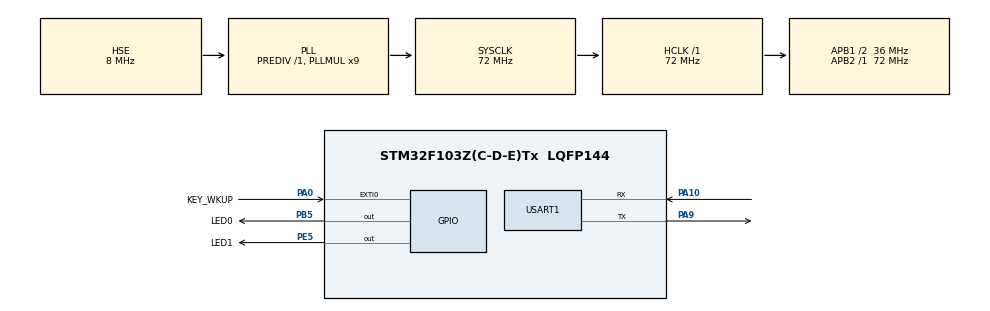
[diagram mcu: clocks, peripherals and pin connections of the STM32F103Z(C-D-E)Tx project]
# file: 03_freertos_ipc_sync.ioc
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FREERTOS.Tasks01=defaultTask,24,128,StartDefaultTask,Default,NULL,Dynamic,NULL,NULL
FREERTOS.configCHECK_FOR_STACK_OVERFLOW=1
FREERTOS.configTOTAL_HEAP_SIZE=10240
FREERTOS.configUSE_IDLE_HOOK=1
FREERTOS.configUSE_MALLOC_FAILED_HOOK=1
Mcu.Family=STM32F1
Mcu.Name=STM32F103Z(C-D-E)Tx
Mcu.Package=LQFP144
NVIC.EXTI0_IRQn=true\:5\:0\:false\:false\:true\:true\:true\:true\:true
NVIC.PriorityGroup=NVIC_PRIORITYGROUP_4
NVIC.TIM4_IRQn=true\:15\:0\:false\:false\:true\:false\:false\:true\:true
NVIC.TimeBase=TIM4_IRQn
NVIC.TimeBaseIP=TIM4
OSC_IN.Mode=HSE-External-Oscillator
OSC_IN.Signal=RCC_OSC_IN
OSC_OUT.Mode=HSE-External-Oscillator
OSC_OUT.Signal=RCC_OSC_OUT
PA0-WKUP.GPIO_Label=KEY_WKUP
PA0-WKUP.GPIO_ModeDefaultEXTI=GPIO_MODE_IT_FALLING
PA0-WKUP.Signal=GPXTI0
PA10.GPIO_PuPd=GPIO_PULLUP
PA10.Mode=Asynchronous
PA10.Signal=USART1_RX
PA13.Mode=Serial_Wire
PA13.Signal=SYS_JTMS-SWDIO
PA14.Mode=Serial_Wire
PA14.Signal=SYS_JTCK-SWCLK
PA9.GPIO_Speed=GPIO_SPEED_FREQ_HIGH
PA9.Mode=Asynchronous
PA9.Signal=USART1_TX
PB5.GPIO_Label=LED0
PB5.GPIO_PuPd=GPIO_PULLUP
PB5.GPIO_Speed=GPIO_SPEED_FREQ_HIGH
PB5.PinState=GPIO_PIN_SET
PB5.Signal=GPIO_Output
PE5.GPIO_Label=LED1
PE5.GPIO_PuPd=GPIO_PULLUP
PE5.GPIO_Speed=GPIO_SPEED_FREQ_HIGH
PE5.PinState=GPIO_PIN_SET
PE5.Signal=GPIO_Output
ProjectManager.HeapSize=0x200
ProjectManager.StackSize=0x400
ProjectManager.TargetToolchain=MDK-ARM V5.32
RCC.AHBFreq_Value=72000000
RCC.APB1CLKDivider=RCC_HCLK_DIV2
RCC.APB1Freq_Value=36000000
RCC.APB1TimFreq_Value=72000000
RCC.APB2Freq_Value=72000000
RCC.APB2TimFreq_Value=72000000
RCC.HCLKFreq_Value=72000000
RCC.PLLMUL=RCC_PLL_MUL9
RCC.PLLSourceVirtual=RCC_PLLSOURCE_HSE
RCC.SYSCLKFreq_VALUE=72000000
RCC.SYSCLKSource=RCC_SYSCLKSOURCE_PLLCLK
RCC.USBFreq_Value=72000000
USART1.VirtualMode=VM_ASYNC
VP_FREERTOS_VS_CMSIS_V2.Mode=CMSIS_V2
VP_SYS_VS_tim4.Mode=TIM4
board=custom

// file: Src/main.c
/* USER CODE BEGIN Header */
/**
  ******************************************************************************
  * @file           : main.c
  * @brief          : Main program body
  ******************************************************************************
  * @attention
  *
  * Copyright (c) 2026 STMicroelectronics.
  * All rights reserved.
  *
  * This software is licensed under terms that can be found in the LICENSE file
  * in the root directory of this software component.
  * If no LICENSE file comes with this software, it is provided AS-IS.
  *
  ******************************************************************************
  */
/* USER CODE END Header */
#include "main.h"
#include "cmsis_os.h"
#include "usart.h"
#include "semphr.h"
#include "gpio.h"

/* USER CODE BEGIN Includes */
#include <stdio.h>
#include <string.h>
#include "app_ipc.h"

#ifdef __GNUC__
  #define PUTCHAR_PROTOTYPE int __io_putchar(int ch)
#else
  #define PUTCHAR_PROTOTYPE int fputc(int ch, FILE *f)
#endif
PUTCHAR_PROTOTYPE {
    if (g_uart_mutex_handle != NULL) {
        osMutexAcquire(g_uart_mutex_handle, 100);
    }
    HAL_UART_Transmit(&huart1, (uint8_t *)&ch, 1, 0xFFFF);
    if (g_uart_mutex_handle != NULL) {
        osMutexRelease(g_uart_mutex_handle);
    }
    return ch;
}
/* USER CODE END Includes */

void SystemClock_Config(void);
void MX_FREERTOS_Init(void);

/* USER CODE BEGIN 0 */
#include "app_ipc.h"

/* ===== EXTI 中断回调（WK_UP 按下触发）+ 软件防抖 ===== */
void HAL_GPIO_EXTI_Callback(uint16_t GPIO_Pin)
{
    if (GPIO_Pin == KEY_WKUP_Pin)
    {
        BaseType_t xHigherPriorityTaskWoken = pdFALSE;
        xSemaphoreGiveFromISR(g_irq_sem_handle, &xHigherPriorityTaskWoken);
        portYIELD_FROM_ISR(xHigherPriorityTaskWoken);
    }
}
/* USER CODE END 0 */

int main(void)
{

  /* MCU Configuration--------------------------------------------------------*/

  /* Reset of all peripherals, Initializes the Flash interface and the Systick. */
  HAL_Init();

  /* Configure the system clock */
  SystemClock_Config();

  /* Initialize all configured peripherals */
  MX_GPIO_Init();
  MX_USART1_UART_Init();
  /* USER CODE BEGIN 2 */
	printf("\r\n===== D3: FreeRTOS IPC & Sync Demo =====\r\n");
	printf("System Clock: %u Hz\r\n", SystemCoreClock);
	printf("Build: %s %s\r\n", __DATE__, __TIME__);
	printf("HAL Timebase = TIM4, FreeRTOS Tick = SysTick\r\n");
	printf("IPC: Queue + Mutex + EventGroup + BinarySemaphore\r\n");
	printf("LED0(PB5) LED1(PE5) Blinking via TaskLED, KEY_WKUP(PA0) EXTI0\r\n");
  /* USER CODE END 2 */

  /* Init scheduler */
  osKernelInitialize();  /* Call init function for freertos objects (in cmsis_os2.c) */
  MX_FREERTOS_Init();

  /* Start scheduler */
  osKernelStart();

  /* We should never get here as control is now taken by the scheduler */

  /* Infinite loop */
  /* USER CODE BEGIN WHILE */
  while (1)
  {
		HAL_GPIO_TogglePin(LED0_GPIO_Port, LED0_Pin);   // LED0 翻转一次
    HAL_GPIO_TogglePin(LED1_GPIO_Port, LED1_Pin);   // LED1 翻转一次，两个 LED 同步闪烁
    printf("[tick:%5u] LED toggled\r\n", HAL_GetTick());   // 打印系统运行时间
    HAL_Delay(500);                                  // 延时 500 毫秒
    /* USER CODE END WHILE */

  }
}

void SystemClock_Config(void)
{
  RCC_OscInitTypeDef RCC_OscInitStruct = {0};
  RCC_ClkInitTypeDef RCC_ClkInitStruct = {0};

  /** Initializes the RCC Oscillators according to the specified parameters
  * in the RCC_OscInitTypeDef structure.
  */
  RCC_OscInitStruct.OscillatorType = RCC_OSCILLATORTYPE_HSE;
  RCC_OscInitStruct.HSEState = RCC_HSE_ON;
  RCC_OscInitStruct.HSEPredivValue = RCC_HSE_PREDIV_DIV1;
  RCC_OscInitStruct.HSIState = RCC_HSI_ON;
  RCC_OscInitStruct.PLL.PLLState = RCC_PLL_ON;
  RCC_OscInitStruct.PLL.PLLSource = RCC_PLLSOURCE_HSE;
  RCC_OscInitStruct.PLL.PLLMUL = RCC_PLL_MUL9;
  if (HAL_RCC_OscConfig(&RCC_OscInitStruct) != HAL_OK)
  {
    Error_Handler();
  }

  /** Initializes the CPU, AHB and APB buses clocks
  */
  RCC_ClkInitStruct.ClockType = RCC_CLOCKTYPE_HCLK|RCC_CLOCKTYPE_SYSCLK
                              |RCC_CLOCKTYPE_PCLK1|RCC_CLOCKTYPE_PCLK2;
  RCC_ClkInitStruct.SYSCLKSource = RCC_SYSCLKSOURCE_PLLCLK;
  RCC_ClkInitStruct.AHBCLKDivider = RCC_SYSCLK_DIV1;
  RCC_ClkInitStruct.APB1CLKDivider = RCC_HCLK_DIV2;
  RCC_ClkInitStruct.APB2CLKDivider = RCC_HCLK_DIV1;

  if (HAL_RCC_ClockConfig(&RCC_ClkInitStruct, FLASH_LATENCY_2) != HAL_OK)
  {
    Error_Handler();
  }
}

void HAL_TIM_PeriodElapsedCallback(TIM_HandleTypeDef *htim)
{
  if (htim->Instance == TIM4)
  {
    HAL_IncTick();
  }
}

void Error_Handler(void)
{
  __disable_irq();
  while (1)
  {
  }
}

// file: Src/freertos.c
/* USER CODE BEGIN Header */
/**
  ******************************************************************************
  * File Name          : freertos.c
  * Description        : Code for freertos applications
  ******************************************************************************
  * @attention
  *
  * Copyright (c) 2026 STMicroelectronics.
  * All rights reserved.
  *
  * This software is licensed under terms that can be found in the LICENSE file
  * in the root directory of this software component.
  * If no LICENSE file comes with this software, it is provided AS-IS.
  *
  ******************************************************************************
  */
/* USER CODE END Header */

#include "FreeRTOS.h"
#include "task.h"
#include "main.h"
#include "cmsis_os.h"

/* USER CODE BEGIN Includes */
#include "app_ipc.h"
#include "app_task.h"
#include <stdio.h>
/* USER CODE END Includes */

/* Definitions for defaultTask */
osThreadId_t defaultTaskHandle;
const osThreadAttr_t defaultTask_attributes = {
  .name = "defaultTask",
  .stack_size = 128 * 4,
  .priority = (osPriority_t) osPriorityNormal,
};

void StartDefaultTask(void *argument);

void MX_FREERTOS_Init(void); /* (MISRA C 2004 rule 8.1) */

/* Hook prototypes */
void vApplicationIdleHook(void);
void vApplicationStackOverflowHook(xTaskHandle xTask, signed char *pcTaskName);
void vApplicationMallocFailedHook(void);

/* USER CODE BEGIN 2 */
#if 0
void vApplicationIdleHook( void )
{
   /* vApplicationIdleHook() will only be called if configUSE_IDLE_HOOK is set
   to 1 in FreeRTOSConfig.h. It will be called on each iteration of the idle
   task. It is essential that code added to this hook function never attempts
   to block in any way (for example, call xQueueReceive() with a block time
   specified, or call vTaskDelay()). If the application makes use of the
   vTaskDelete() API function (as this demo application does) then it is also
   important that vApplicationIdleHook() is permitted to return to its calling
   function, because it is the responsibility of the idle task to clean up
   memory allocated by the kernel to any task that has since been deleted. */
}
#endif
/* USER CODE END 2 */

/* USER CODE BEGIN 4 */
#if 0
void vApplicationStackOverflowHook(xTaskHandle xTask, signed char *pcTaskName)
{
   /* Run time stack overflow checking is performed if
   configCHECK_FOR_STACK_OVERFLOW is defined to 1 or 2. This hook function is
   called if a stack overflow is detected. */
}
#endif
/* USER CODE END 4 */

/* USER CODE BEGIN 5 */
#if 0
void vApplicationMallocFailedHook(void)
{
   /* vApplicationMallocFailedHook() will only be called if
   configUSE_MALLOC_FAILED_HOOK is set to 1 in FreeRTOSConfig.h. It is a hook
   function that will get called if a call to pvPortMalloc() fails.
   pvPortMalloc() is called internally by the kernel whenever a task, queue,
   timer or semaphore is created. It is also called by various parts of the
   demo application. If heap_1.c or heap_2.c are used, then the size of the
   heap available to pvPortMalloc() is defined by configTOTAL_HEAP_SIZE in
   FreeRTOSConfig.h, and the xPortGetFreeHeapSize() API function can be used
   to query the size of free heap space that remains (although it does not
   provide information on how the remaining heap might be fragmented). */
}
#endif
/* USER CODE END 5 */

void MX_FREERTOS_Init(void) {

  /* USER CODE BEGIN RTOS_QUEUES */
  /* 初始化 4 大 IPC（必须在创建任务之前！） */
			App_IPC_Init();
  /* USER CODE END RTOS_QUEUES */

  /* Create the thread(s) */
  /* creation of defaultTask */
//  defaultTaskHandle = osThreadNew(StartDefaultTask, NULL, &defaultTask_attributes);

  /* USER CODE BEGIN RTOS_THREADS */
  /* -------------------- TaskLED -------------------- */
    const osThreadAttr_t taskLED_attr = {
        .name       = "TaskLED",
        .attr_bits  = osThreadDetached,
        .cb_mem     = NULL,
        .cb_size    = 0,
        .stack_mem  = NULL,
        .stack_size = TASK_LED_STACK_SIZE,  /* 256 words = 1024 Bytes */
        .priority   = TASK_LED_PRIORITY,    /* osPriorityNormal = 24 */
        .tz_module  = 0,
        .reserved   = 0
    };
    osThreadId_t taskLED_handle = osThreadNew(TaskLED, NULL, &taskLED_attr);
    if (taskLED_handle == NULL) {
        printf("[ERROR] osThreadNew(TaskLED) failed!\r\n");
    }

    /* -------------------- TaskPrint -------------------- */
    const osThreadAttr_t taskPrint_attr = {
        .name       = "TaskPrint",
        .attr_bits  = osThreadDetached,
        .cb_mem     = NULL,
        .cb_size    = 0,
        .stack_mem  = NULL,
        .stack_size = TASK_PRINT_STACK_SIZE, /* 512 words = 2048 Bytes */
        .priority   = TASK_PRINT_PRIORITY,   /* osPriorityBelowNormal = 16 */
        .tz_module  = 0,
        .reserved   = 0
    };
    osThreadId_t taskPrint_handle = osThreadNew(TaskPrint, NULL, &taskPrint_attr);
    if (taskPrint_handle == NULL) {
        printf("[ERROR] osThreadNew(TaskPrint) failed!\r\n");
    }

		    /* ===== TaskKeyPoll ===== */
    const osThreadAttr_t taskKeyPoll_attr = {
        .name       = "TaskKeyPoll",
        .attr_bits  = osThreadDetached,
        .stack_size = TASK_KEY_POLL_STACK_SIZE,
        .priority   = TASK_KEY_POLL_PRIORITY,
    };
    osThreadId_t taskKeyPoll_handle = osThreadNew(TaskKeyPoll, NULL, &taskKeyPoll_attr);
    if (taskKeyPoll_handle == NULL) { printf("[ERROR] osThreadNew(TaskKeyPoll) failed!\r\n"); }

    /* ===== TaskSemHandle ===== */
    const osThreadAttr_t taskSemHandle_attr = {
        .name       = "TaskSemHandle",
        .attr_bits  = osThreadDetached,
        .stack_size = TASK_SEM_HANDLE_STACK_SIZE,
        .priority   = TASK_SEM_HANDLE_PRIORITY,
    };
    osThreadId_t taskSemHandle_handle = osThreadNew(TaskSemHandle, NULL, &taskSemHandle_attr);
    if (taskSemHandle_handle == NULL) { printf("[ERROR] osThreadNew(TaskSemHandle) failed!\r\n"); }
  /* USER CODE END RTOS_THREADS */

}

void StartDefaultTask(void *argument)
{
  for(;;)
  {
    osDelay(1);
  }
}
